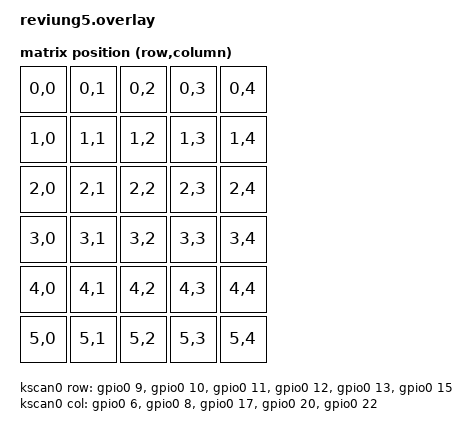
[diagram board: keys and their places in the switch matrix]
/*
 * Reviung5 shield overlay — matches your schematic
 * Matrix: 6 rows × 5 columns (row-major)
 * Diode direction: col2row
 * MCU: SuperMini / nice_nano_v2 (nRF52840)
 */

#include <dt-bindings/zmk/matrix_transform.h>

 / {
    chosen {
        zmk,kscan = &kscan0;
        zmk,matrix-transform = &default_transform;
    };

    /* Logical -> physical identity mapping for 6×5 */
    default_transform: keymap_transform_0 {
        compatible = "zmk,matrix-transform";
        rows = <6>;
        columns = <5>;
        map = <
            RC(0,0) RC(0,1) RC(0,2) RC(0,3) RC(0,4)
            RC(1,0) RC(1,1) RC(1,2) RC(1,3) RC(1,4)
            RC(2,0) RC(2,1) RC(2,2) RC(2,3) RC(2,4)
            RC(3,0) RC(3,1) RC(3,2) RC(3,3) RC(3,4)
            RC(4,0) RC(4,1) RC(4,2) RC(4,3) RC(4,4)
            RC(5,0) RC(5,1) RC(5,2) RC(5,3) RC(5,4)
        >;
    };

    kscan0: kscan_0 {
        compatible = "zmk,kscan-gpio-matrix";
        wakeup-source;
        diode-direction = "col2row";

        /* Columns (Col0..Col4) — P0.06, P0.08, P0.17, P0.20, P0.22 */
        col-gpios =
            <&gpio0  6 GPIO_ACTIVE_HIGH>,   /* Col0 -> P0.06 */
            <&gpio0  8 GPIO_ACTIVE_HIGH>,   /* Col1 -> P0.08 */
            <&gpio0 17 GPIO_ACTIVE_HIGH>,   /* Col2 -> P0.17 */
            <&gpio0 20 GPIO_ACTIVE_HIGH>,   /* Col3 -> P0.20 */
            <&gpio0 22 GPIO_ACTIVE_HIGH>;   /* Col4 -> P0.22 */

        /* Rows (Row0..Row5) — P0.09, P0.10, P0.11, P0.12, P0.13, P0.15 */
        row-gpios =
            <&gpio0  9  (GPIO_ACTIVE_HIGH | GPIO_PULL_DOWN)>, /* Row0 -> P0.09 */
            <&gpio0 10  (GPIO_ACTIVE_HIGH | GPIO_PULL_DOWN)>, /* Row1 -> P0.10 */
            <&gpio0 11  (GPIO_ACTIVE_HIGH | GPIO_PULL_DOWN)>, /* Row2 -> P0.11 */
            <&gpio0 12  (GPIO_ACTIVE_HIGH | GPIO_PULL_DOWN)>, /* Row3 -> P0.12 */
            <&gpio0 13  (GPIO_ACTIVE_HIGH | GPIO_PULL_DOWN)>, /* Row4 -> P0.13 */
            <&gpio0 15  (GPIO_ACTIVE_HIGH | GPIO_PULL_DOWN)>; /* Row5 -> P0.15 */
    };
};
